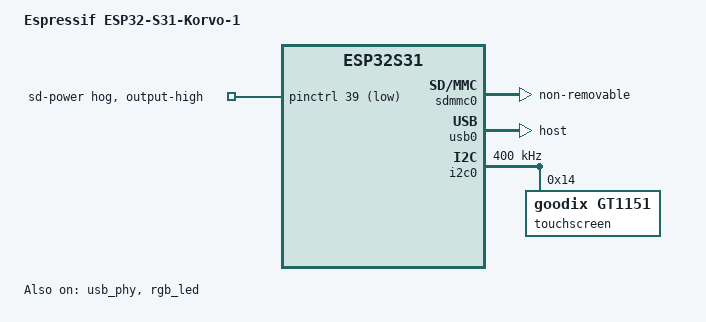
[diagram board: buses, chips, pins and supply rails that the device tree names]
// SPDX-License-Identifier: GPL-2.0+
/*
 * ESP32-S31-Korvo-1: 800x480 RGB panel, microSD slot, USB 2.0 host port
 * and a WS2812 RGB LED.
 * Author: Marco Müller <hello@annoyedmilk.ch>
 */
/dts-v1/;
#include "esp32s31.dtsi"
#include <dt-bindings/gpio/gpio.h>

/ {
	model = "Espressif ESP32-S31-Korvo-1";
	compatible = "esp,esp32s31-korvo-1", "esp,esp32s31";

	reserved-memory {
		#address-cells = <1>;
		#size-cells = <1>;
		ranges;

		/* The LCD DMA reads it after the handoff, uncached (PMA). */
		fb_region: framebuffer@50f40000 {
			reg = <0x50f40000 0xc0000>;
			no-map;
		};
	};

	chosen {
		stdout-path = "serial0:115200n8";

		/* The panel of the loader; blank with USB Serial/JTAG on. */
		framebuffer {
			compatible = "simple-framebuffer";
			width = <800>;
			height = <480>;
			stride = <(800 * 2)>;
			format = "r5g6b5";
			memory-region = <&fb_region>;
		};
	};
};

/* No card-detect or write-protect contact, and the root is on the card. */
&sdmmc0 {
	pinctrl-names = "default";
	pinctrl-0 = <&sd_cfg>;
	non-removable;
	status = "okay";
};

/* The Type-A port: host only, with a TPS2051C switch for VBUS. */
&usb_phy { status = "okay"; };

&usb0 {
	dr_mode = "host";
	disable-over-current;
	status = "okay";
};

/* WS2812 RGB LED on GPIO37. */
&rgb_led {
	pinctrl-names = "default";
	pinctrl-0 = <&led_cfg>;
	status = "okay";
};

/* The LCD (loader), the card and LED (drivers), the flash, GPIO41, UART0. */
&pinctrl {
	gpio-reserved-ranges = <8 31>, <40 2>, <43 3>, <58 2>;

	/* GPIO39 low switches the power of the microSD slot on. */
	sd-power-hog {
		gpio-hog;
		gpios = <39 GPIO_ACTIVE_LOW>;
		output-high;
		line-name = "sd-power";
	};

	/* The SD host on its IO MUX pins, function 4 */
	sd_cfg: sd-cfg {
		sd-clk-pins {
			pinmux = <ESP32S31_IOMUX(24, 4)>;
			bias-disable;
			input-enable;
			drive-strength = <40>;
		};

		sd-cmd-data-pins {
			pinmux = <ESP32S31_IOMUX(20, 4)>,	/* D0 */
				 <ESP32S31_IOMUX(21, 4)>,	/* D1 */
				 <ESP32S31_IOMUX(22, 4)>,	/* D2 */
				 <ESP32S31_IOMUX(23, 4)>,	/* D3 */
				 <ESP32S31_IOMUX(25, 4)>;	/* CMD */
			bias-pull-up;
			input-enable;
			drive-strength = <40>;
		};
	};

	led_cfg: led-cfg {
		led-pins {
			pinmux = <ESP32S31_MATRIX_OUT(37, ESP32S31_SIG_RMT_OUT0)>;
		};
	};

	i2c0_cfg: i2c0-cfg {
		i2c0-pins {
			pinmux = <ESP32S31_MATRIX_INOUT(0, ESP32S31_SIG_I2C0_SDA)>,
				 <ESP32S31_MATRIX_INOUT(1, ESP32S31_SIG_I2C0_SCL)>;
			bias-pull-up;
			drive-open-drain;
		};
	};
};

/* ES8389 codec at 0x10, GT1151 touch at 0x14 (no INT line: polled). */
&i2c0 {
	pinctrl-names = "default";
	pinctrl-0 = <&i2c0_cfg>;
	clock-frequency = <400000>;
	status = "okay";

	touchscreen@14 {
		compatible = "goodix,gt1151";
		reg = <0x14>;
		touchscreen-size-x = <800>;
		touchscreen-size-y = <480>;
	};
};
